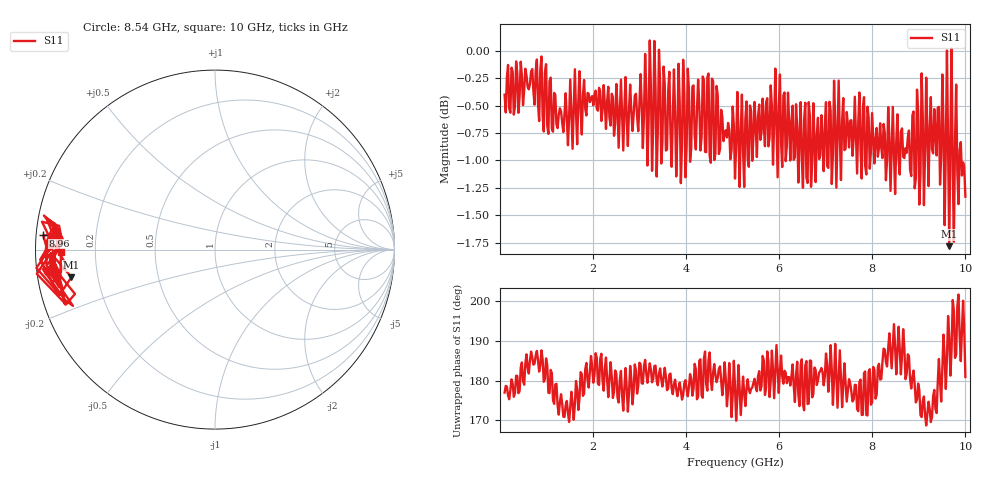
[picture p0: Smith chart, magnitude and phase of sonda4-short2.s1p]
!Keysight Technologies N9917A: A.12.46
!Date: Friday, 23 February 2024 20:43:11
!TimeZone: (UTC-03:00) Buenos Aires!Model: N9917A
!Serial: MY56072049
!GPS Latitude:
!GPS Longitude:
!GPS TimeStamp: 0001-01-01 00:00:00Z
!GPS Seconds Since Last Read: 0
!CHECKSUM:1937867357
!Correction: S11(ON U)
!S1P File: Measurement: S11:
# Hz S DB R 50
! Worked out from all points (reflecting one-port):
!   401 points, 100 MHz to 10 GHz, reference 50 ohm
!   lowest |S11| = -1.8 dB at 9.653 GHz (marker M1), VSWR 9.78, Z = 5.16 - j4.7 ohm
!   phase of S11 starts at 177 deg and turns +4 deg over the sweep
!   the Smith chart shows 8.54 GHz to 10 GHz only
!   S11 on the Smith chart (normalised r, x): 8.54 GHz: 0.03, -0.06; 8.96 GHz: 0.02, +0.04; 10 GHz: 0.08, -0.01
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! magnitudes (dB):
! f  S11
! 100 MHz  -0.4
! 743.5 MHz  -0.5
! 1.337 GHz  -0.7
! 2.575 GHz  -0.6
! 3.169 GHz  -1.0
! 3.219 GHz  0.1
! 3.268 GHz  -1.1
! 3.317 GHz  0.1
! 3.367 GHz  -1.1
! 3.812 GHz  -0.7
! 5.05 GHz  -1.2
! 5.199 GHz  -0.4
! 5.966 GHz  -1.2
! 6.287 GHz  -0.5
! 7.525 GHz  -0.6
! 8.54 GHz  -0.6
! 8.762 GHz  -0.8
! 8.96 GHz  -0.4
! 9.381 GHz  -1.0
! 9.505 GHz  -0.2
! 9.555 GHz  -1.6
! 9.604 GHz  0.0
! 9.653 GHz  -1.8
! 9.703 GHz  0.0
! 9.752 GHz  -1.7
! 9.802 GHz  -0.3
! 9.851 GHz  -1.4
! 10 GHz  -1.3
